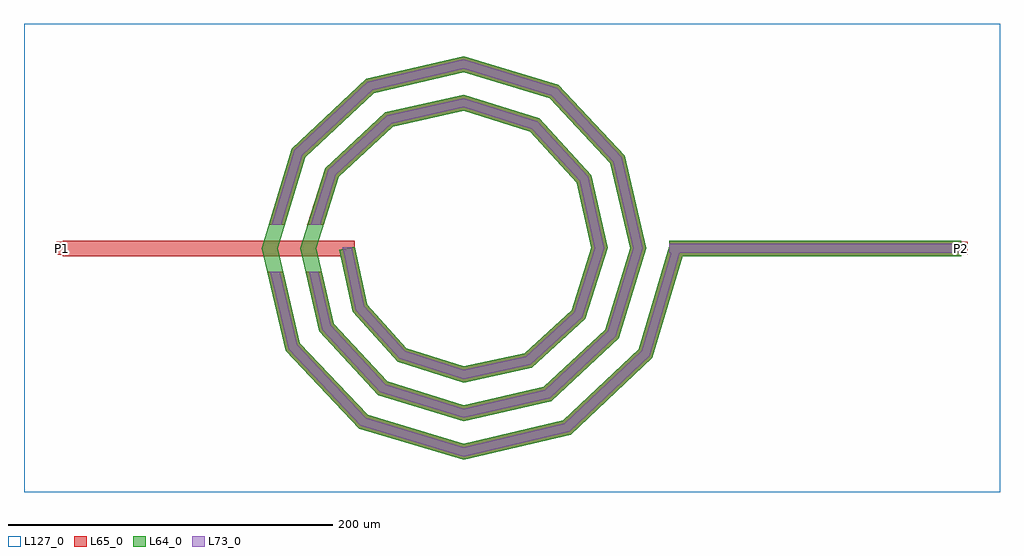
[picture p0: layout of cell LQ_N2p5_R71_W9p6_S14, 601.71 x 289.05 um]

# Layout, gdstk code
import gdstk
lib = gdstk.Library(unit=1e-6, precision=1e-09)
def R(c, l, rs):  # rectangles x0, y0, x1, y1
    for r in rs: c.add(gdstk.rectangle(r[:2], r[2:], *l))
def P(c, l, *ps):  # polygons
    for p in ps: c.add(gdstk.Polygon(p, *l))
L64_0 = (64, 0)
L65_0 = (65, 0)
L73_0 = (73, 0)
L127_0 = (127, 0)

lq_n2p5_r71_w9p6_s14 = lib.new_cell('LQ_N2p5_R71_W9p6_S14')
R(lq_n2p5_r71_w9p6_s14, L64_0, [(126.693,-4.8,306.693,4.8)])
P(lq_n2p5_r71_w9p6_s14, L64_0, [(-59.493,-34.637),(-35.204,-61.462),(0.237,-72.819),(37.604,-64.67),(66.62,-38.203),(78.786,0.22),(69.845,40.574),(41.2,71.781),(0.205,84.753),(-43.545,75.02),(-76.942,44.195),(-90.72,0.193),(-80.194,-46.518),(-47.189,-82.104),(0.181,-96.688),(49.492,-85.368),(87.266,-50.182),(102.655,0.171),(90.54,52.468),(53.174,92.43),(0.162,108.622),(-55.444,95.713),(-97.594,56.165),(-114.59,0.154),(-100.885,-58.421),(-59.155,-102.758),(0.147,-120.558),(61.399,-106.056),(107.922,-62.145),(126.893,1.374),(136.092,-1.374),(116.384,-67.359),(66.116,-114.805),(0.147,-130.492),(-64.381,-111.212),(-109.64,-63.125),(-124.524,0.154),(-106.04,61.403),(-60.135,104.476),(0.162,118.557),(58.427,100.868),(99.311,57.143),(112.589,0.171),(95.694,-55.451),(54.151,-94.148),(0.181,-106.62),(-52.476,-90.521),(-88.985,-51.157),(-100.652,0.193),(-85.346,49.502),(-48.163,83.822),(0.205,94.684),(46.529,80.171),(78.661,45.166),(88.716,0.22),(74.995,-43.559),(42.168,-73.5),(0.237,-82.747),(-40.59,-69.817),(-68.34,-39.168),(-76.509,-1.005),(-67.122,1.005)])
R(lq_n2p5_r71_w9p6_s14, L65_0, [(-247.015,-4.8,-67.015,4.8), (126.693,-4.8,306.693,4.8), (-251.015,-4,-243.015,4), (302.693,-4,310.693,4)])
P(lq_n2p5_r71_w9p6_s14, L65_0, [(-100.885,-58.421),(-59.155,-102.758),(0.147,-120.558),(61.399,-106.056),(107.923,-62.145),(126.894,1.374),(136.092,-1.374),(116.384,-67.359),(66.116,-114.805),(0.147,-130.493),(-64.381,-111.212),(-109.64,-63.126),(-121.101,-14.4),(-111.239,-14.4)],
  [(-80.194,-46.518),(-47.189,-82.104),(0.181,-96.688),(49.492,-85.368),(87.266,-50.182),(102.655,0.171),(90.54,52.468),(53.174,92.43),(0.162,108.622),(-55.444,95.713),(-97.594,56.165),(-110.198,14.4),(-120.225,14.4),(-106.04,61.403),(-60.135,104.476),(0.162,118.557),(58.427,100.868),(99.312,57.143),(112.589,0.171),(95.694,-55.451),(54.151,-94.148),(0.181,-106.621),(-52.476,-90.521),(-88.985,-51.157),(-97.337,-14.4),(-87.492,-14.4)],
  [(-35.204,-61.462),(0.237,-72.819),(37.604,-64.67),(66.621,-38.203),(78.786,0.22),(69.845,40.574),(41.2,71.781),(0.206,84.753),(-43.545,75.02),(-76.942,44.195),(-86.19,14.4),(-96.242,14.4),(-85.346,49.502),(-48.163,83.822),(0.206,94.684),(46.529,80.171),(78.661,45.167),(88.716,0.22),(74.995,-43.559),(42.168,-73.5),(0.237,-82.748),(-40.59,-69.817),(-68.34,-39.168),(-76.509,-1.005),(-67.122,1.005),(-59.493,-34.637)])
R(lq_n2p5_r71_w9p6_s14, L73_0, [(126.693,-2.8,306.693,2.8)])
P(lq_n2p5_r71_w9p6_s14, L73_0, [(-102.709,-59.401),(-60.244,-104.519),(0.086,-122.627),(62.381,-107.879),(109.685,-63.231),(128.81,0.801),(134.176,0.801),(114.621,-66.273),(65.133,-112.982),(0.086,-128.423),(-63.292,-109.451),(-107.816,-62.145),(-119.047,-14.4),(-113.294,-14.4)],
  [(-82.026,-47.485),(-48.29,-83.857),(0.106,-98.757),(50.463,-87.197),(89.022,-51.28),(104.725,0.1),(92.368,53.442),(54.268,94.188),(0.095,110.692),(-56.421,97.538),(-99.353,57.256),(-112.287,14.4),(-118.136,14.4),(-104.281,60.312),(-59.158,102.65),(0.095,116.487),(57.332,99.11),(97.484,56.169),(110.519,0.1),(93.939,-54.353),(53.18,-92.319),(0.106,-104.551),(-51.374,-88.767),(-87.153,-50.191),(-95.286,-14.4),(-89.543,-14.4)],
  [(-36.326,-63.202),(0.138,-74.887),(38.555,-66.509),(68.365,-39.319),(80.854,0.128),(71.682,41.53),(42.31,73.529),(0.12,86.822),(-44.507,76.854),(-78.693,45.301),(-88.285,14.4),(-94.148,14.4),(-83.595,48.396),(-47.201,81.989),(0.12,92.615),(45.419,78.423),(76.824,44.21),(86.647,0.128),(73.25,-42.443),(41.218,-71.66),(0.138,-80.679),(-39.468,-68.076),(-66.497,-38.224),(-74.553,0.586),(-69.077,0.586),(-61.336,-35.581)])
R(lq_n2p5_r71_w9p6_s14, L127_0, [(-271.015,-150.493,330.693,138.557)])
lq_n2p5_r71_w9p6_s14.add(gdstk.Label('P2', (306.693,0), layer=65, texttype=0))
lq_n2p5_r71_w9p6_s14.add(gdstk.Label('P1', (-247.015,0), layer=65, texttype=0))
lq_n2p5_r71_w9p6_s14.add(gdstk.Label('P2', (310.693,0), layer=145, texttype=0))
lq_n2p5_r71_w9p6_s14.add(gdstk.Label('P1', (-251.015,0), layer=145, texttype=0))

lib.write_gds('LQ_N2p5_R71_W9p6_S14.gds')
